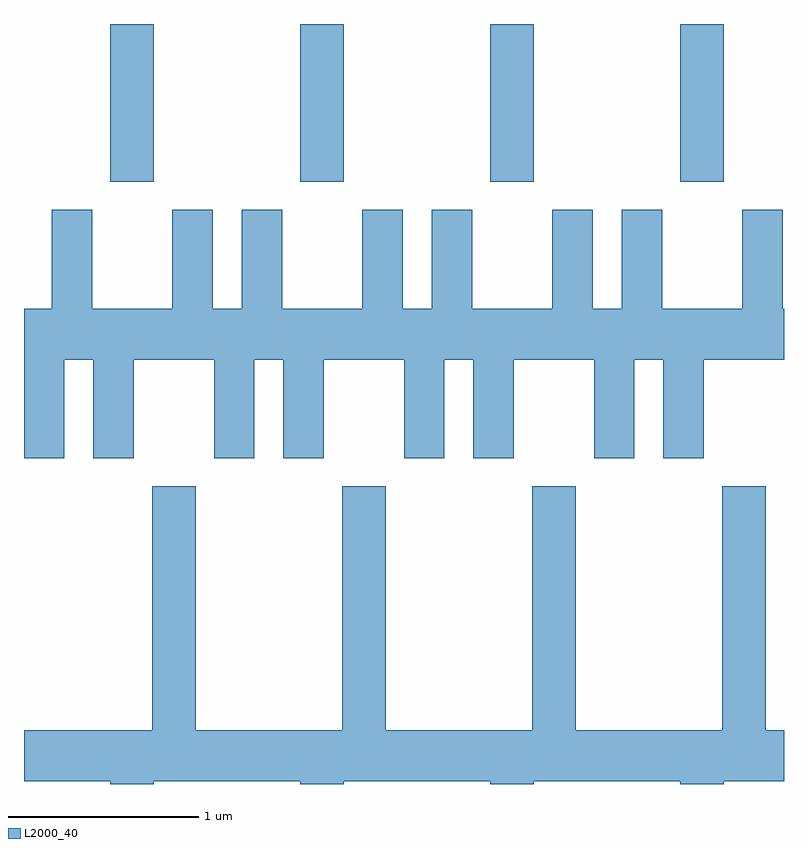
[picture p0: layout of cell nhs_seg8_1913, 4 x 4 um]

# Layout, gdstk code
import gdstk
lib = gdstk.Library(unit=1e-6, precision=1e-09)
def R(c, l, rs):  # rectangles x0, y0, x1, y1
    for r in rs: c.add(gdstk.rectangle(r[:2], r[2:], *l))
def A(c, l, x, y, w, h, nx, ny, dx, dy):  # array of equal rectangles
    R(c, l, [(x+i*dx, y+j*dy, x+i*dx+w, y+j*dy+h) for i in range(nx) for j in range(ny)])
def P(c, l, *ps):  # polygons
    for p in ps: c.add(gdstk.Polygon(p, *l))
L2000_40 = (2000, 40)

nhs_seg8_1913 = lib.new_cell('nhs_seg8_1913')
A(nhs_seg8_1913, L2000_40, 242.066, 1899.511, 0.228, 0.831, 4, 1, 1, 0)
P(nhs_seg8_1913, L2000_40, [(241.824,1898.576),(241.976,1898.576),(241.976,1898.056),(242.189,1898.056),(242.189,1898.576),(242.611,1898.576),(242.611,1898.056),(242.824,1898.056),(242.824,1898.576),(242.976,1898.576),(242.976,1898.056),(243.189,1898.056),(243.189,1898.576),(243.611,1898.576),(243.611,1898.056),(243.824,1898.056),(243.824,1898.576),(243.976,1898.576),(243.976,1898.056),(244.189,1898.056),(244.189,1898.576),(244.611,1898.576),(244.611,1898.056),(244.824,1898.056),(244.824,1898.576),(244.976,1898.576),(244.976,1898.056),(245.189,1898.056),(245.189,1898.576),(245.611,1898.576),(245.611,1898.844),(245.604,1898.844),(245.604,1899.364),(245.391,1899.364),(245.391,1898.844),(244.969,1898.844),(244.969,1899.364),(244.756,1899.364),(244.756,1898.844),(244.604,1898.844),(244.604,1899.364),(244.391,1899.364),(244.391,1898.844),(243.969,1898.844),(243.969,1899.364),(243.756,1899.364),(243.756,1898.844),(243.604,1898.844),(243.604,1899.364),(243.391,1899.364),(243.391,1898.844),(242.969,1898.844),(242.969,1899.364),(242.756,1899.364),(242.756,1898.844),(242.604,1898.844),(242.604,1899.364),(242.391,1899.364),(242.391,1898.844),(241.969,1898.844),(241.969,1899.364),(241.756,1899.364),(241.756,1898.844),(241.611,1898.844),(241.611,1898.056),(241.824,1898.056)],
  [(242.294,1896.356),(243.066,1896.356),(243.066,1896.342),(243.294,1896.342),(243.294,1896.356),(244.066,1896.356),(244.066,1896.342),(244.294,1896.342),(244.294,1896.356),(245.066,1896.356),(245.066,1896.342),(245.294,1896.342),(245.294,1896.356),(245.611,1896.356),(245.611,1896.624),(245.514,1896.624),(245.514,1897.909),(245.286,1897.909),(245.286,1896.624),(244.514,1896.624),(244.514,1897.909),(244.286,1897.909),(244.286,1896.624),(243.514,1896.624),(243.514,1897.909),(243.286,1897.909),(243.286,1896.624),(242.514,1896.624),(242.514,1897.909),(242.286,1897.909),(242.286,1896.624),(241.611,1896.624),(241.611,1896.356),(242.066,1896.356),(242.066,1896.342),(242.294,1896.342)])

lib.write_gds('nhs_seg8_1913.gds')
